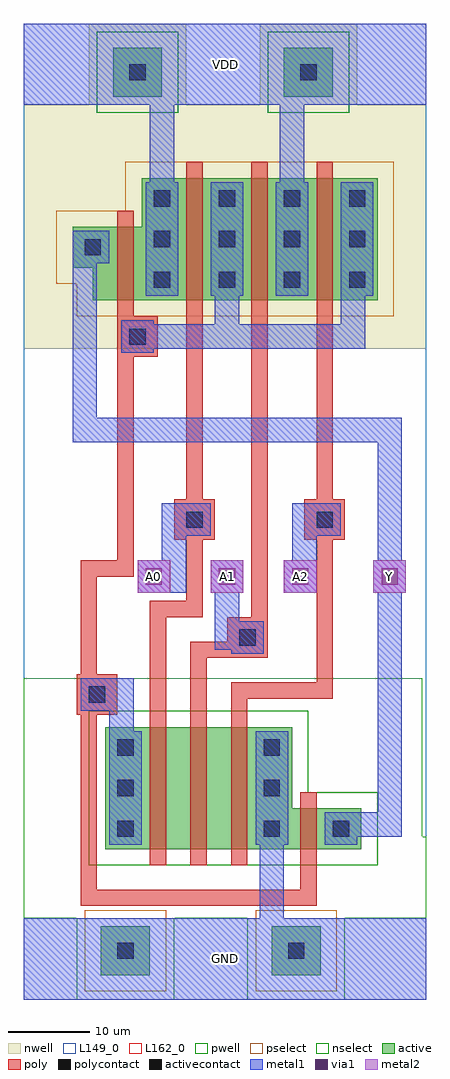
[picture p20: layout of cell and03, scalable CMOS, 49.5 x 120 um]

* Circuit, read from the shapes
.subckt and03 A0 A1 A2 GND VDD Y
M1 n1 A0 n2 GND nfet w=15u l=2u
M2 n3 A1 n1 GND nfet w=15u l=2u
M3 GND A2 n3 GND nfet w=15u l=2u
M4 Y n2 GND GND nfet w=5u l=2u
M5 VDD n2 Y VDD pfet w=9u l=2u
M6 n2 A0 VDD VDD pfet w=15u l=2u
M7 VDD A1 n2 VDD pfet w=15u l=2u
M8 n2 A2 VDD VDD pfet w=15u l=2u
.ends

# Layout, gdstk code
import gdstk
lib = gdstk.Library(unit=1e-6, precision=1e-09)
def R(c, l, rs):  # rectangles x0, y0, x1, y1
    for r in rs: c.add(gdstk.rectangle(r[:2], r[2:], *l))
def A(c, l, x, y, w, h, nx, ny, dx, dy):  # array of equal rectangles
    R(c, l, [(x+i*dx, y+j*dy, x+i*dx+w, y+j*dy+h) for i in range(nx) for j in range(ny)])
def P(c, l, *ps):  # polygons
    for p in ps: c.add(gdstk.Polygon(p, *l))
pwell = (41, 0)
nwell = (42, 0)
active = (43, 0)
pselect = (44, 0)
nselect = (45, 0)
poly = (46, 0)
polycontact = (47, 0)
activecontact = (48, 0)
metal1 = (49, 0)
via1 = (50, 0)
metal2 = (51, 0)
L149_0 = (149, 0)
L162_0 = (162, 0)

nwell_contact = lib.new_cell('nwell_contact')
R(nwell_contact, nwell, [(-6,-5,6,6)])
R(nwell_contact, active, [(-3,-3,3,3)])
R(nwell_contact, nselect, [(-5,-5,5,5)])
R(nwell_contact, activecontact, [(-1,-1,1,1)])

pwell_contact = lib.new_cell('pwell_contact')
R(pwell_contact, pwell, [(-6,-6,6,5)])
R(pwell_contact, active, [(-3,-3,3,3)])
R(pwell_contact, pselect, [(-5,-5,5,5)])
R(pwell_contact, activecontact, [(-1,-1,1,1)])

via = lib.new_cell('via')
R(via, metal1, [(-2,-2,2,2)])
R(via, via1, [(-1,-1,1,1)])
R(via, metal2, [(-2,-2,2,2)])

and03 = lib.new_cell('and03')
R(and03, pwell, [(0,10,49.5,20), (0,10,49,39.5)])
P(and03, pwell, [(4,12.5),(47.5,12.5),(47.5,29.5),(39,29.5),(39,39.5),(4,39.5)])
R(and03, nwell, [(0,80,49.5,110), (0,95,49.5,110)])
P(and03, nwell, [(0,84),(2.5,84),(2.5,80),(49.5,80),(49.5,107),(8.5,107),(8.5,101),(0,101)])
P(and03, active, [(6,90),(8.5,90),(8.5,86),(43.5,86),(43.5,101),(14.5,101),(14.5,95),(6,95)],
  [(10,18.5),(41.5,18.5),(41.5,23.5),(33,23.5),(33,33.5),(10,33.5)])
P(and03, pselect, [(4,88),(6.5,88),(6.5,84),(45.5,84),(45.5,103),(12.5,103),(12.5,97),(4,97)])
P(and03, nselect, [(8,16.5),(43.5,16.5),(43.5,25.5),(35,25.5),(35,35.5),(8,35.5)])
A(and03, poly, 15.5, 16.5, 2, 2, 3, 2, 5, 17)
A(and03, poly, 15.5, 18.5, 2, 15, 3, 1, 5, 0)
A(and03, poly, 20, 84, 2, 2, 3, 2, 8, 17)
A(and03, poly, 20, 86, 2, 15, 3, 1, 8, 0)
R(and03, poly, [(34,16.5,36,18.5), (34,18.5,36,23.5), (34,23.5,36,25.5), (6.5,35,11.5,40), (25,42,30,47), (18.5,56.5,23.5,61.5), (34.5,56.5,39.5,61.5), (11.5,79,16.5,84), (11.5,84,13.5,86), (11.5,86,13.5,95), (11.5,95,13.5,97)])
R(and03, polycontact, [(8,36.5,10,38.5), (26.5,43.5,28.5,45.5), (20,58,22,60), (36,58,38,60), (13,80.5,15,82.5)])
A(and03, activecontact, 11.5, 20, 2, 2, 1, 3, 0, 5)
A(and03, activecontact, 29.5, 20, 2, 2, 1, 3, 0, 5)
A(and03, activecontact, 16, 87.5, 2, 2, 4, 3, 8, 5)
R(and03, activecontact, [(38,20,40,22), (7.5,91.5,9.5,93.5)])
A(and03, metal1, 15, 86.5, 4, 14, 4, 1, 8, 0)
R(and03, metal1, [(0,0,49.5,10), (0,0,49.5,10), (10.5,19,14.5,33), (28.5,19,32.5,33), (37,19,41,23), (7,35.5,11,39.5), (25.5,42.5,29.5,46.5), (19,57,23,61), (35,57,39,61), (12,79.5,16,83.5), (6.5,90.5,10.5,94.5), (0,110,49.5,120), (0,110,49.5,120)])
A(and03, metal2, 14, 50, 4, 4, 3, 1, 9, 0)
R(and03, metal2, [(43,50,47,54)])
R(and03, L149_0, [(0,0,49.5,10), (0,0,49.5,10), (0,0,49.5,120), (7,35.5,11,39.5), (25.5,42.5,29.5,46.5), (19,57,23,61), (35,57,39,61), (12,79.5,16,83.5), (0,110,49.5,120), (0,110,49.5,120)])
A(and03, L162_0, 14, 50, 4, 4, 3, 1, 9, 0)
R(and03, L162_0, [(43,50,47,54)])
and03.add(gdstk.FlexPath([(17,100.5),(17,110)], 3, ends="flush", simple_path=True, layer=149, datatype=0))  # L149_0
and03.add(gdstk.FlexPath([(33,100.5),(33,110)], 3, ends="flush", simple_path=True, layer=149, datatype=0))  # L149_0
and03.add(gdstk.FlexPath([(12,31.5),(12,38),(8,38)], 3, ends="flush", simple_path=True, layer=149, datatype=0))  # L149_0
and03.add(gdstk.FlexPath([(25,86.5),(25,83)], 3, ends="flush", simple_path=True, layer=149, datatype=0))  # L149_0
and03.add(gdstk.FlexPath([(12,81.5),(40.5,81.5),(40.5,86.5)], 3, ends="flush", simple_path=True, layer=149, datatype=0))  # L149_0
and03.add(gdstk.FlexPath([(7.5,94.5),(7.5,70),(45,70),(45,21.5),(41,21.5)], 3, ends="flush", simple_path=True, layer=149, datatype=0))  # L149_0
and03.add(gdstk.FlexPath([(30.5,19),(30.5,10)], 3, ends="flush", simple_path=True, layer=149, datatype=0))  # L149_0
and03.add(gdstk.FlexPath([(34.5,61),(34.5,54)], 3, ends="flush", simple_path=True, layer=149, datatype=0))  # L149_0
and03.add(gdstk.FlexPath([(29,44.5),(25,44.5),(25,53.5)], 3, ends="flush", simple_path=True, layer=149, datatype=0))  # L149_0
and03.add(gdstk.FlexPath([(18.5,61),(18.5,50)], 3, ends="flush", simple_path=True, layer=149, datatype=0))  # L149_0
and03.add(gdstk.FlexPath([(17,100.5),(17,110)], 3, ends="flush", simple_path=True, layer=49, datatype=0))  # metal1
and03.add(gdstk.FlexPath([(33,100.5),(33,110)], 3, ends="flush", simple_path=True, layer=49, datatype=0))  # metal1
and03.add(gdstk.FlexPath([(12,31.5),(12,38),(8,38)], 3, ends="flush", simple_path=True, layer=49, datatype=0))  # metal1
and03.add(gdstk.FlexPath([(25,86.5),(25,83)], 3, ends="flush", simple_path=True, layer=49, datatype=0))  # metal1
and03.add(gdstk.FlexPath([(12,81.5),(40.5,81.5),(40.5,86.5)], 3, ends="flush", simple_path=True, layer=49, datatype=0))  # metal1
and03.add(gdstk.FlexPath([(7.5,94.5),(7.5,70),(45,70),(45,21.5),(41,21.5)], 3, ends="flush", simple_path=True, layer=49, datatype=0))  # metal1
and03.add(gdstk.FlexPath([(30.5,19),(30.5,10)], 3, ends="flush", simple_path=True, layer=49, datatype=0))  # metal1
and03.add(gdstk.FlexPath([(34.5,61),(34.5,54)], 3, ends="flush", simple_path=True, layer=49, datatype=0))  # metal1
and03.add(gdstk.FlexPath([(29,44.5),(25,44.5),(25,53.5)], 3, ends="flush", simple_path=True, layer=49, datatype=0))  # metal1
and03.add(gdstk.FlexPath([(18.5,61),(18.5,50)], 3, ends="flush", simple_path=True, layer=49, datatype=0))  # metal1
and03.add(gdstk.FlexPath([(26.5,35.5),(26.5,38),(37,38),(37,84)], 2, ends="flush", simple_path=True, layer=46, datatype=0))  # poly
and03.add(gdstk.FlexPath([(35,16.5),(35,12.5),(8,12.5),(8,53),(12.5,53),(12.5,79)], 2, ends="flush", simple_path=True, layer=46, datatype=0))  # poly
and03.add(gdstk.FlexPath([(21.5,35.5),(21.5,43),(29,43),(29,84)], 2, ends="flush", simple_path=True, layer=46, datatype=0))  # poly
and03.add(gdstk.FlexPath([(16.5,35.5),(16.5,48),(21,48),(21,85)], 2, ends="flush", simple_path=True, layer=46, datatype=0))  # poly
and03.add(gdstk.Reference(nwell_contact, (14,114)))
and03.add(gdstk.Reference(nwell_contact, (35,114)))
and03.add(gdstk.Reference(pwell_contact, (33.5,6)))
and03.add(gdstk.Reference(pwell_contact, (12.5,6)))
and03.add(gdstk.Reference(via, (34,52)))
and03.add(gdstk.Reference(via, (45,52)))
and03.add(gdstk.Reference(via, (25,52)))
and03.add(gdstk.Reference(via, (16,52)))
and03.add(gdstk.Label('Y', (45,52), layer=3, texttype=0))
and03.add(gdstk.Label('A0', (16,52), layer=3, texttype=0))
and03.add(gdstk.Label('A2', (34,52), layer=3, texttype=0))
and03.add(gdstk.Label('A1', (25,52), layer=3, texttype=0))
and03.add(gdstk.Label('GND', (24.75,5), layer=2, texttype=0))
and03.add(gdstk.Label('VDD', (24.75,115), layer=2, texttype=0))

lib.write_gds('and03.gds')
